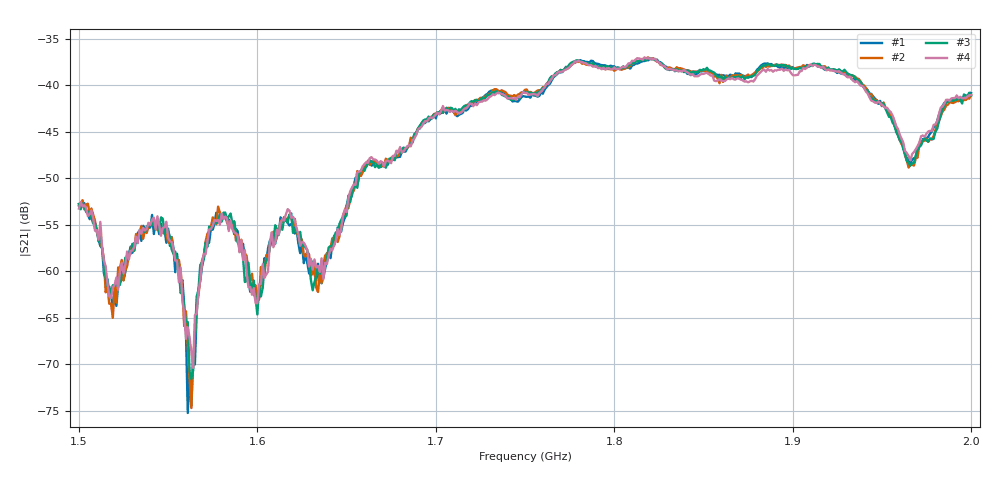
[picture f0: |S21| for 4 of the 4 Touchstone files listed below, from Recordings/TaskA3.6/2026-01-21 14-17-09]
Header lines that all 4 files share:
! NanoVNA-App by SYSJOINT et al v1.1.209 (+OD18)
! Start: 1,5GHz Stop: 2GHz Points: 501
! S-Parameter data: F S11 S21 S12 S22
# Hz S RI R 50
!  Frequency  S11_Real  S11_Imag  S21_Real  S21_Imag  S12_Real  S12_Imag  S22_Real  S22_Imag
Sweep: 1.5 GHz to 2 GHz
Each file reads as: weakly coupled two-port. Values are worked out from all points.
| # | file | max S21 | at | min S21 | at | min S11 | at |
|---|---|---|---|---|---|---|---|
| 1 | 0.s2p | -37.16 dB | 1.822 GHz | -75.2 dB | 1.561 GHz | -31.1 dB | 1.817 GHz |
| 2 | 1.s2p | -37.04 dB | 1.819 GHz | -74.7 dB | 1.563 GHz | -30.7 dB | 1.817 GHz |
| 3 | 2.s2p | -37.08 dB | 1.819 GHz | -71.5 dB | 1.563 GHz | -30.6 dB | 1.816 GHz |
| 4 | 3.s2p | -37.01 dB | 1.817 GHz | -70.4 dB | 1.564 GHz | -30.3 dB | 1.816 GHz |
